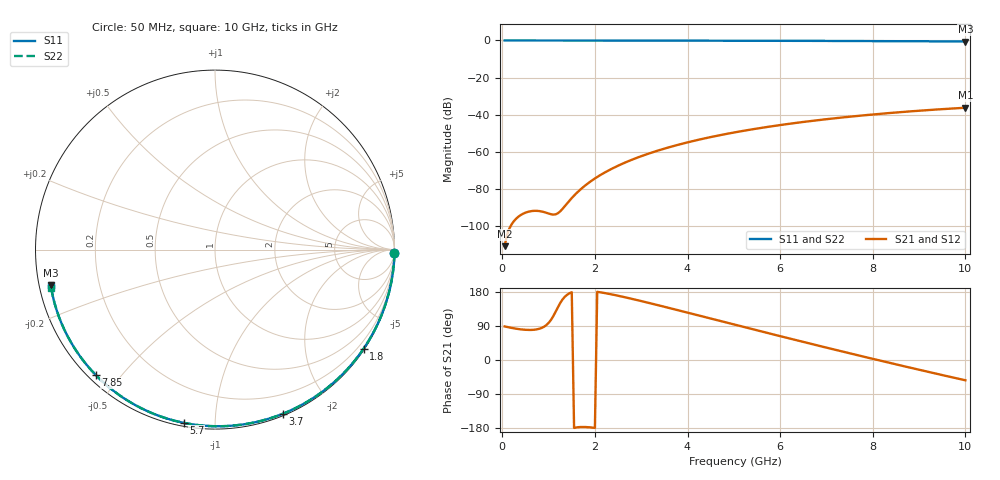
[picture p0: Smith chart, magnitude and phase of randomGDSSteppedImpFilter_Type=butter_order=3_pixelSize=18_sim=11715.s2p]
! freq	dB(S11)	phase(S11)	dB(S12)	phase(S12)
!  dB(S21)	phase(S21)	dB(S22)	phase(S22)
!S-par simulation data
#  GHz  S  DB  R 50
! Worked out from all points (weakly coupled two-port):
!   200 points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, 50 MHz to 10 GHz, reference 50 ohm
!   highest |S21| = -36.30 dB at 10 GHz (marker M1); lowest = -111.0 dB at 50 MHz (marker M2)
!   lowest |S11| = -0.6 dB at 10 GHz (marker M3), VSWR 30.62, Z = 1.65 - j5.34 ohm
!   |S11| at or under -10 dB: nowhere
!   |S22| runs from -0.6 to 0.0 dB; largest |S21 - S12| = 0
!   S11 on the Smith chart (normalised r, x): 50 MHz: open; 1.8 GHz: 0.03, -3.30; 3.7 GHz: 0.02, -1.50; 5.7 GHz: 0.02, -0.83; 7.85 GHz: 0.02, -0.43; 10 GHz: 0.03, -0.11
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0.05  -0.00 -1.0  -110.99 88.6  -110.99 88.6  -0.00 -1.0
0.45  -0.01 -8.6  -93.47 80.2  -93.47 80.2  -0.01 -8.6
0.85  -0.02 -16.1  -92.27 84.6  -92.27 84.6  -0.02 -16.1
1.7  -0.04 -31.9  -80.13 -176.8  -80.13 -176.8  -0.04 -31.9
1.75  -0.04 -32.8  -79.06 -176.7  -79.06 -176.7  -0.04 -32.8
1.8  -0.04 -33.7  -78.05 -176.9  -78.05 -176.9  -0.04 -33.7
2.1  -0.05 -39.2  -72.89 179.0  -72.89 179.0  -0.05 -39.2
2.3  -0.05 -42.8  -70.06 174.6  -70.06 174.6  -0.05 -42.8
2.5  -0.06 -46.4  -67.58 169.6  -67.58 169.6  -0.06 -46.4
2.9  -0.07 -53.5  -63.37 158.5  -63.37 158.5  -0.07 -53.5
3.4  -0.08 -62.3  -59.11 143.5  -59.11 143.5  -0.08 -62.2
3.7  -0.09 -67.4  -56.94 134.3  -56.94 134.3  -0.09 -67.4
4.35  -0.11 -78.4  -52.94 114.1  -52.94 114.1  -0.11 -78.3
5.05  -0.14 -89.9  -49.45 92.3  -49.45 92.3  -0.14 -89.8
5.7  -0.17 -100.3  -46.75 72.2  -46.75 72.2  -0.17 -100.1
6.2  -0.20 -108.1  -44.95 56.8  -44.95 56.8  -0.20 -108.0
6.7  -0.23 -115.9  -43.35 41.6  -43.35 41.6  -0.23 -115.7
7.25  -0.27 -124.4  -41.79 25.2  -41.79 25.2  -0.27 -124.1
7.85  -0.32 -133.6  -40.29 7.4  -40.29 7.4  -0.32 -133.3
8.35  -0.37 -141.4  -39.18 -7.1  -39.18 -7.1  -0.36 -140.9
9.2  -0.46 -154.7  -37.56 -31.4  -37.56 -31.4  -0.46 -154.1
10  -0.57 -167.8  -36.30 -53.5  -36.30 -53.5  -0.56 -166.9
